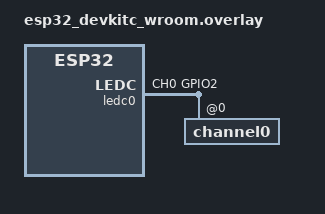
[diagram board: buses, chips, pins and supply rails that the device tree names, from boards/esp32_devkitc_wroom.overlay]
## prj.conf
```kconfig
CONFIG_PWM=y
CONFIG_ZTEST=y
CONFIG_ZTEST_NEW_API=y
CONFIG_TEST_USERSPACE=y
```

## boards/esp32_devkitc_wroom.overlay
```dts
/*
 * SPDX-License-Identifier: Apache-2.0
 *
 * Copyright (c) 2023 Espressif Systems (Shanghai) Co., Ltd.
 */

#include <zephyr/dt-bindings/pwm/pwm.h>
#include <dt-bindings/pinctrl/esp32-pinctrl.h>

/ {
	aliases {
		pwm-0 = &ledc0;
	};
};

&pinctrl {
	ledc0_default: ledc0_default {
		group1 {
			pinmux = <LEDC_CH0_GPIO2>;
			output-enable;
		};
	};
};

&ledc0 {
	pinctrl-0 = <&ledc0_default>;
	pinctrl-names = "default";
	status = "okay";
	#address-cells = <1>;
	#size-cells = <0>;
	channel0@0 {
		reg = <0x0>;
		timer = <0>;
	};
};
```

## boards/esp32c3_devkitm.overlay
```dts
/*
 * SPDX-License-Identifier: Apache-2.0
 *
 * Copyright (c) 2023 Espressif Systems (Shanghai) Co., Ltd.
 */

#include <zephyr/dt-bindings/pwm/pwm.h>
#include <dt-bindings/pinctrl/esp32c3-pinctrl.h>

/ {
	aliases {
		pwm-0 = &ledc0;
	};
};

&pinctrl {
	ledc0_default: ledc0_default {
		group1 {
			pinmux = <LEDC_CH0_GPIO2>;
			output-enable;
		};
	};
};

&ledc0 {
	pinctrl-0 = <&ledc0_default>;
	pinctrl-names = "default";
	status = "okay";
	#address-cells = <1>;
	#size-cells = <0>;
	channel0@0 {
		reg = <0x0>;
		timer = <0>;
	};
};
```

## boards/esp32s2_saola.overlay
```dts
/*
 * SPDX-License-Identifier: Apache-2.0
 *
 * Copyright (c) 2023 Espressif Systems (Shanghai) Co., Ltd.
 */

#include <zephyr/dt-bindings/pwm/pwm.h>
#include <dt-bindings/pinctrl/esp32s2-pinctrl.h>

/ {
	aliases {
		pwm-0 = &ledc0;
	};
};

&pinctrl {
	ledc0_default: ledc0_default {
		group1 {
			pinmux = <LEDC_CH0_GPIO2>;
			output-enable;
		};
	};
};

&ledc0 {
	pinctrl-0 = <&ledc0_default>;
	pinctrl-names = "default";
	status = "okay";
	#address-cells = <1>;
	#size-cells = <0>;
	channel0@0 {
		reg = <0x0>;
		timer = <0>;
	};
};
```

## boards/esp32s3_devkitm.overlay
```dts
/*
 * SPDX-License-Identifier: Apache-2.0
 *
 * Copyright (c) 2023 Espressif Systems (Shanghai) Co., Ltd.
 */

#include <zephyr/dt-bindings/pwm/pwm.h>
#include <dt-bindings/pinctrl/esp32s3-pinctrl.h>

/ {
	aliases {
		pwm-0 = &ledc0;
	};
};

&pinctrl {
	ledc0_default: ledc0_default {
		group1 {
			pinmux = <LEDC_CH0_GPIO2>;
			output-enable;
		};
	};
};

&ledc0 {
	pinctrl-0 = <&ledc0_default>;
	pinctrl-names = "default";
	status = "okay";
	#address-cells = <1>;
	#size-cells = <0>;
	channel0@0 {
		reg = <0x0>;
		timer = <0>;
	};
};
```

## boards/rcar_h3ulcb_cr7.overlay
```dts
/*
 * Copyright (c) 2022 IoT.bzh
 *
 * SPDX-License-Identifier: Apache-2.0
 */

&pwm0 {
    status = "okay";
};
```

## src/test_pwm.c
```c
/*
 * Copyright (c) 2016 Intel Corporation.
 *
 * SPDX-License-Identifier: Apache-2.0
 */

/**
 * @file
 * @brief Verify PWM can work well when configure through nsec,
 * or cycle.
 *
 * @details
 * - Test Steps
 *   -# Bind PWM_0 port 0.
 *   -# Set PWM period and pulse using pwm_set_cycles() or pwm_set().
 *   -# Use multimeter or other instruments to measure the output
 *	from PWM_OUT_0.
 * - Expected Results
 *   -# The output of PWM_OUT_0 will differ according to the value
 *	of period and pulse.
 *	Always on  ->  Period : Pulse (1 : 1)  ->  3.3V
 *	Half on  ->  Period : Pulse (2 : 1)  ->  1.65V
 *	Always off  ->  Period : Pulse (1 : 0)  ->  0V
 */

#include <zephyr/device.h>
#include <inttypes.h>
#include <zephyr/drivers/pwm.h>
#include <zephyr/kernel.h>
#include <zephyr/ztest.h>

#if DT_NODE_HAS_STATUS(DT_ALIAS(pwm_0), okay)
#define PWM_DEV_NODE DT_ALIAS(pwm_0)
#elif DT_NODE_HAS_STATUS(DT_ALIAS(pwm_1), okay)
#define PWM_DEV_NODE DT_ALIAS(pwm_1)
#elif DT_NODE_HAS_STATUS(DT_ALIAS(pwm_2), okay)
#define PWM_DEV_NODE DT_ALIAS(pwm_2)
#elif DT_NODE_HAS_STATUS(DT_ALIAS(pwm_3), okay)
#define PWM_DEV_NODE DT_ALIAS(pwm_3)

#elif DT_HAS_COMPAT_STATUS_OKAY(st_stm32_pwm)
#define PWM_DEV_NODE DT_INST(0, st_stm32_pwm)

#elif DT_HAS_COMPAT_STATUS_OKAY(xlnx_xps_timer_1_00_a_pwm)
#define PWM_DEV_NODE DT_INST(0, xlnx_xps_timer_1_00_a_pwm)

#elif DT_HAS_COMPAT_STATUS_OKAY(nxp_kinetis_ftm_pwm)
#define PWM_DEV_NODE DT_INST(0, nxp_kinetis_ftm_pwm)

#elif DT_HAS_COMPAT_STATUS_OKAY(intel_blinky_pwm)
#define PWM_DEV_NODE DT_INST(0, intel_blinky_pwm)

#else
#error "Define a PWM device"
#endif

#if defined(CONFIG_BOARD_COLIBRI_IMX7D_M4) || defined(CONFIG_SOC_MK64F12) ||                       \
	defined(CONFIG_SOC_MKW41Z4) || defined(CONFIG_SOC_SERIES_ESP32S2) ||                       \
	defined(CONFIG_SOC_ESP32S3) || defined(CONFIG_SOC_SERIES_ESP32C3)
#define DEFAULT_PERIOD_CYCLE 1024
#define DEFAULT_PULSE_CYCLE 512
#define DEFAULT_PERIOD_NSEC 2000000
#define DEFAULT_PULSE_NSEC 500000
#elif DT_HAS_COMPAT_STATUS_OKAY(intel_blinky_pwm)
#define DEFAULT_PERIOD_CYCLE 32768
#define DEFAULT_PULSE_CYCLE 16384
#define DEFAULT_PERIOD_NSEC 2000000
#define DEFAULT_PULSE_NSEC 500000
#else
#define DEFAULT_PERIOD_CYCLE 64000
#define DEFAULT_PULSE_CYCLE 32000
#define DEFAULT_PERIOD_NSEC 2000000
#define DEFAULT_PULSE_NSEC 1000000
#endif

#if defined CONFIG_BOARD_SAM_E70_XPLAINED
#define DEFAULT_PWM_PORT 2 /* PWM on EXT2 connector, pin 8 */
#elif defined CONFIG_PWM_NRFX
#define DEFAULT_PWM_PORT DT_PROP(DT_ALIAS(pwm_0), ch0_pin)
#elif defined CONFIG_BOARD_ADAFRUIT_ITSYBITSY_M4_EXPRESS
#define DEFAULT_PWM_PORT 2 /* TCC1/WO[2] on PA18 (D7) */
#elif defined CONFIG_BOARD_MIMXRT685_EVK
#define DEFAULT_PWM_PORT 7 /* D3 on Arduino connector J27 */
#elif defined CONFIG_BOARD_LPCXPRESSO55S69_CPU0
#define DEFAULT_PWM_PORT 2 /* D2 on Arduino connector P18 */
#elif DT_HAS_COMPAT_STATUS_OKAY(st_stm32_pwm)
/* Default port should be adapted per board to fit the channel
 * associated to the PWM pin. For intsance, for following device,
 *      pwm1: pwm {
 *              status = "okay";
 *              pinctrl-0 = <&tim1_ch3_pe13>;
 *      };
 * the following should be used:
 * #define DEFAULT_PWM_PORT 3
 */
#define DEFAULT_PWM_PORT 1
#else
#define DEFAULT_PWM_PORT 0
#endif

#define UNIT_CYCLES	0
#define UNIT_NSECS	1

const struct device *get_pwm_device(void)
{
	return DEVICE_DT_GET(PWM_DEV_NODE);
}

static int test_task(uint32_t port, uint32_t period, uint32_t pulse, uint8_t unit)
{
	TC_PRINT("[PWM]: %" PRIu8 ", [period]: %" PRIu32 ", [pulse]: %" PRIu32 "\n",
		port, period, pulse);

	const struct device *pwm_dev = get_pwm_device();

	if (!device_is_ready(pwm_dev)) {
		TC_PRINT("PWM device is not ready\n");
		return TC_FAIL;
	}

	if (unit == UNIT_CYCLES) {
		/* Verify pwm_set_cycles() */
		if (pwm_set_cycles(pwm_dev, port, period, pulse, 0)) {
			TC_PRINT("Fail to set the period and pulse width\n");
			return TC_FAIL;
		}
	} else { /* unit == UNIT_NSECS */
		/* Verify pwm_set() */
		if (pwm_set(pwm_dev, port, period, pulse, 0)) {
			TC_PRINT("Fail to set the period and pulse width\n");
			return TC_FAIL;
		}
	}

	return TC_PASS;
}

ZTEST_USER(pwm_basic, test_pwm_nsec)
{
	/* Period : Pulse (2000000 : 1000000), unit (nsec). Voltage : 1.65V */
	zassert_true(test_task(DEFAULT_PWM_PORT, DEFAULT_PERIOD_NSEC,
				DEFAULT_PULSE_NSEC, UNIT_NSECS) == TC_PASS, NULL);
	k_sleep(K_MSEC(1000));

	/* Period : Pulse (2000000 : 2000000), unit (nsec). Voltage : 3.3V */
	zassert_true(test_task(DEFAULT_PWM_PORT, DEFAULT_PERIOD_NSEC,
				DEFAULT_PERIOD_NSEC, UNIT_NSECS) == TC_PASS, NULL);
	k_sleep(K_MSEC(1000));

	/* Period : Pulse (2000000 : 0), unit (nsec). Voltage : 0V */
	zassert_true(test_task(DEFAULT_PWM_PORT, DEFAULT_PERIOD_NSEC,
				0, UNIT_NSECS) == TC_PASS, NULL);
	k_sleep(K_MSEC(1000));
}

ZTEST_USER(pwm_basic, test_pwm_cycle)
{
	/* Period : Pulse (64000 : 32000), unit (cycle). Voltage : 1.65V */
	zassert_true(test_task(DEFAULT_PWM_PORT, DEFAULT_PERIOD_CYCLE,
				DEFAULT_PULSE_CYCLE, UNIT_CYCLES) == TC_PASS, NULL);
	k_sleep(K_MSEC(1000));

	/* Period : Pulse (64000 : 64000), unit (cycle). Voltage : 3.3V */
	zassert_true(test_task(DEFAULT_PWM_PORT, DEFAULT_PERIOD_CYCLE,
				DEFAULT_PERIOD_CYCLE, UNIT_CYCLES) == TC_PASS, NULL);
	k_sleep(K_MSEC(1000));

	/* Period : Pulse (64000 : 0), unit (cycle). Voltage : 0V */
	zassert_true(test_task(DEFAULT_PWM_PORT, DEFAULT_PERIOD_CYCLE,
				0, UNIT_CYCLES) == TC_PASS, NULL);
	k_sleep(K_MSEC(1000));
}
```
